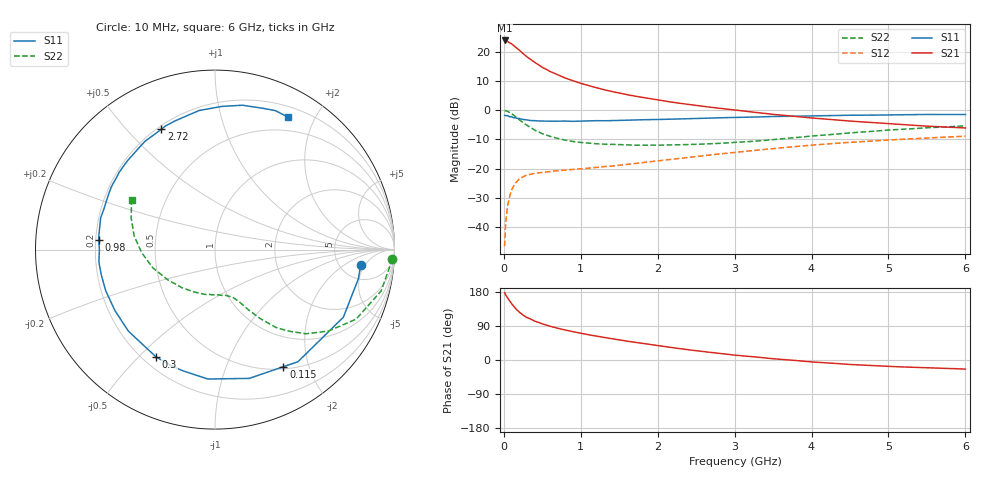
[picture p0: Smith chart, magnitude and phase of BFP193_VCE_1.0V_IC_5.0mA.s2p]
! Infineon Technologies  Discrete & RF Semiconductors
! BFP193
! VCE = 1.0 V,  IC =  5.0 mA
! Common Emitter S-Parameters:  Jan 2016
# GHz  S  MA  R  50
!  f  S11  S21  S12  S22
! GHz  MAG  ANG  MAG  ANG  MAG  ANG  MAG  ANG
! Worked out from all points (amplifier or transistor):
!   210 points, 10 MHz to 6 GHz, reference 50 ohm
!   highest |S21| = 23.9 dB at 10 MHz (marker M1)
!   |S21| within 3 dB of that: start of sweep to 185.7 MHz
!   unconditionally stable (mu >= 1): 1.231 GHz to 3.942 GHz
!   at 185 MHz: K = 0.21, MSG = 22.4 dB, |S12| = -24.0 dB
!   at 1.52 GHz: K = 1.10, MAG = 10.3 dB, |S12| = -18.8 dB
!   at 6 GHz: K = 0.97, MSG = 1.4 dB, |S12| = -8.9 dB
!   S11 on the Smith chart (normalised r, x): 10 MHz: 7.81, -3.99; 115 MHz: 0.53, -1.61; 300 MHz: 0.25, -0.56; 980 MHz: 0.21, +0.04; 2.72 GHz: 0.22, +0.63; 6 GHz: 0.32, +1.65
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0.01  0.8161 -6.0  15.62 177.7  0.0047 86.3  0.9858 -2.9
0.02  0.8153 -11.5  15.28 172.9  0.0094 82.8  0.9783 -5.6
0.05  0.8083 -27.8  14.96 163.4  0.0232 75.5  0.9537 -14.0
0.1  0.7771 -53.5  13.73 148.8  0.0428 64.4  0.8763 -26.3
0.115  0.7555 -59.7  13.16 145.3  0.0467 60.6  0.8445 -28.9
0.15  0.7425 -75.1  12.08 135.8  0.0563 53.8  0.778 -35.7
0.2  0.7222 -93.2  10.69 126.3  0.0662 47.0  0.689 -42.9
0.24  0.6986 -104.8  9.554 120.0  0.0714 42.6  0.6249 -47.0
0.3  0.6821 -118.8  8.199 112.1  0.0774 38.1  0.5514 -51.9
0.4  0.6629 -136.7  6.6 102.7  0.083 33.4  0.4568 -56.9
0.5  0.6528 -148.7  5.42 95.2  0.0861 30.8  0.3954 -60.3
0.6  0.6506 -159.3  4.611 89.0  0.0894 29.6  0.3554 -62.6
0.7  0.6491 -167.6  4.022 83.4  0.092 29.1  0.3279 -64.6
0.98  0.6497 175.3  2.935 71.4  0.0986 30.2  0.2821 -70.0
1.02  0.6519 173.1  2.828 69.8  0.0996 30.5  0.2785 -70.9
1.4  0.6629 156.0  2.089 56.3  0.1102 33.1  0.2605 -79.6
2.02  0.695 134.5  1.479 37.5  0.1368 36.9  0.2517 -97.3
2.72  0.7346 114.0  1.11 19.4  0.1733 36.9  0.2669 -121.0
3.1  0.7545 105.1  0.971 11.1  0.1957 35.2  0.2853 -134.6
4.1  0.8013 85.6  0.718 -6.3  0.2578 27.4  0.3689 -166.8
5.1  0.8314 71.2  0.577 -17.7  0.3136 16.8  0.464 168.0
6  0.8428 61.0  0.496 -23.9  0.3589 6.4  0.5396 149.3
